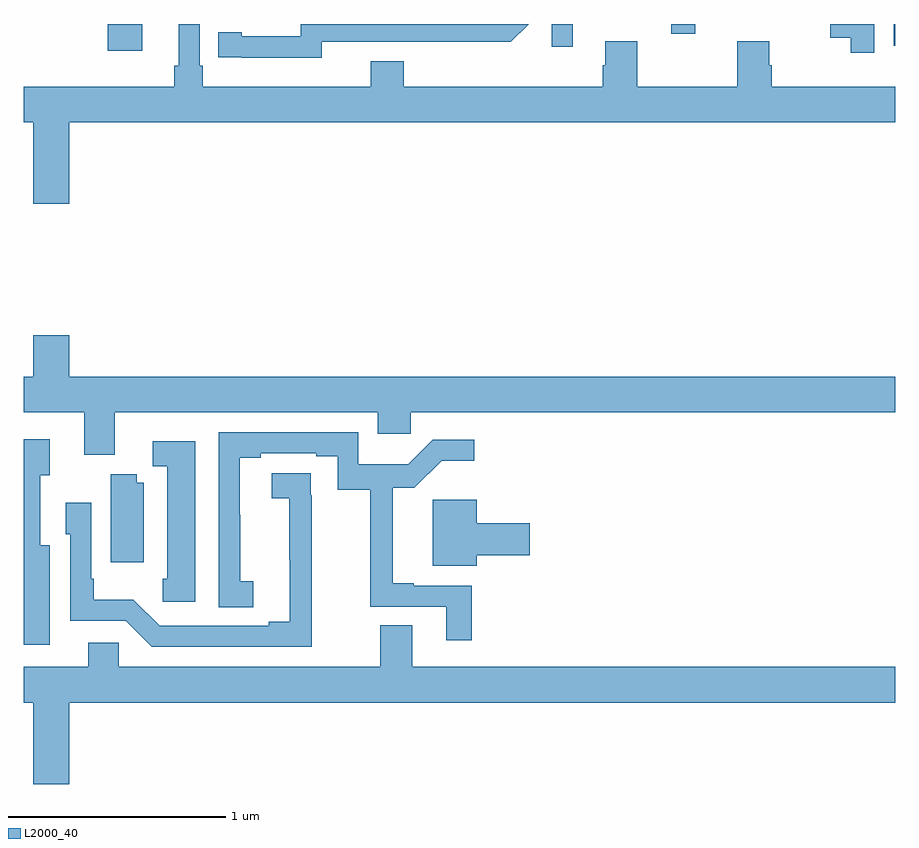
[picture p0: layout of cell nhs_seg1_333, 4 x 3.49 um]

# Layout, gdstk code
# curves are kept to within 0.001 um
import gdstk
lib = gdstk.Library(unit=1e-6, precision=1e-09)
def R(c, l, rs):  # rectangles x0, y0, x1, y1
    for r in rs: c.add(gdstk.rectangle(r[:2], r[2:], *l))
def P(c, l, *ps):  # polygons
    for p in ps: c.add(gdstk.Polygon(p, *l))
L2000_40 = (2000, 40)

nhs_seg1_333 = lib.new_cell('nhs_seg1_333')
R(nhs_seg1_333, L2000_40, [(129.386,536.076,129.544,536.199), (131.424,536.094,131.521,536.199), (132.993,536.1,133,536.199), (131.972,536.154,132.083,536.199)])
P(nhs_seg1_333, L2000_40, [(129.208,535.748),(133,535.748),(133,535.912),(132.434,535.912),(132.434,536.01),(132.421,536.01),(132.421,536.12),(132.274,536.12),(132.274,535.912),(131.817,535.912),(131.817,536.12),(131.669,536.12),(131.669,536.01),(131.657,536.01),(131.657,535.912),(130.745,535.912),(130.745,536.029),(130.592,536.029),(130.592,535.912),(129.821,535.912),(129.821,536.008),(129.807,536.008),(129.807,536.199),(129.71,536.199),(129.71,536.008),(129.691,536.008),(129.691,535.912),(129,535.912),(129,535.748),(129.044,535.748),(129.044,535.374),(129.208,535.374)],
  [(130.368,536.118),(131.236,536.117),(131.319,536.199),(130.272,536.199),(130.272,536.142),(130,536.142),(130,536.162),(129.892,536.162),(129.892,536.046),(130.368,536.045)],
  [(132.903,536.199),(132.702,536.199),(132.702,536.137),(132.795,536.137),(132.795,536.067),(132.903,536.067)],
  [(129.418,534.416),(130.625,534.416),(130.625,534.318),(130.777,534.318),(130.777,534.416),(133,534.416),(133,534.58),(129.208,534.58),(129.208,534.769),(129.044,534.769),(129.044,534.58),(129,534.58),(129,534.416),(129.278,534.416),(129.278,534.222),(129.418,534.222)],
  [(131.057,533.619),(130.789,533.619),(130.789,533.632),(130.694,533.632),(130.694,534.069),(130.793,534.069),(130.919,534.194),(131.068,534.194),(131.068,534.291),(130.878,534.291),(130.765,534.178),(130.536,534.178),(130.536,534.324),(129.894,534.324),(129.894,533.521),(130.054,533.521),(130.054,533.641),(129.993,533.641),(129.993,533.945),(129.991,533.945),(129.991,534.208),(130.087,534.208),(130.087,534.228),(130.343,534.228),(130.343,534.214),(130.44,534.214),(130.44,534.061),(130.591,534.061),(130.591,533.523),(130.94,533.523),(130.94,533.37),(131.057,533.37)],
  [(129.118,533.806),(129.076,533.806),(129.076,534.127),(129.118,534.127),(129.118,534.292),(129,534.292),(129,533.349),(129.118,533.349)],
  [(129.787,534.283),(129.591,534.283),(129.591,534.168),(129.659,534.168),(129.659,533.652),(129.637,533.652),(129.637,533.547),(129.787,533.547)],
  [(130.322,534.035),(130.316,534.035),(130.316,534.137),(130.137,534.137),(130.137,534.022),(130.219,534.022),(130.22,533.456),(130.124,533.456),(130.124,533.436),(129.624,533.436),(129.503,533.557),(129.322,533.557),(129.322,533.653),(129.309,533.653),(129.309,534.001),(129.192,534.001),(129.192,533.856),(129.213,533.856),(129.213,533.46),(129.468,533.46),(129.588,533.34),(130.322,533.34)],
  [(129.55,534.094),(129.518,534.094),(129.518,534.131),(129.398,534.131),(129.398,533.727),(129.55,533.727)],
  [(131.08,533.759),(131.323,533.759),(131.323,533.906),(131.08,533.906),(131.08,534.016),(130.877,534.016),(130.877,533.711),(131.08,533.711)],
  [(129.208,533.084),(133,533.084),(133,533.248),(130.783,533.248),(130.783,533.438),(130.636,533.438),(130.636,533.248),(129.435,533.248),(129.435,533.358),(129.296,533.358),(129.296,533.248),(129,533.248),(129,533.084),(129.044,533.084),(129.044,532.71),(129.208,532.71)])

lib.write_gds('nhs_seg1_333.gds')
